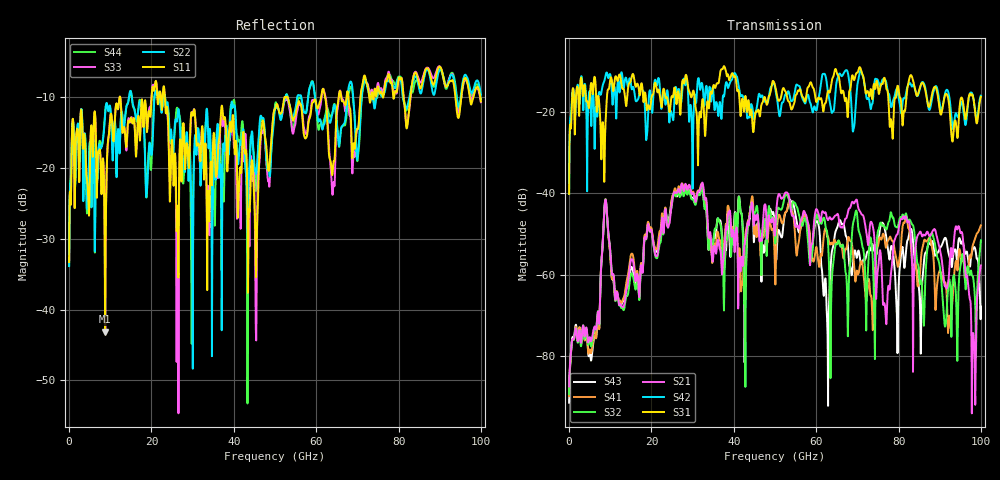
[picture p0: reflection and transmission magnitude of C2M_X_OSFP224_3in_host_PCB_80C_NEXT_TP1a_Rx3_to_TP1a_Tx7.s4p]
# GHz S RI R 45
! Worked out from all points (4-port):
!   4000 points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, 25 MHz to 100 GHz, reference 45 ohm
!   strongest paths, dB at 25 MHz, 25.02 GHz, 50.02 GHz, 75.03 GHz, 100 GHz:
!     S31: -40.1, -16.1, -13.5, -14.1, -16.2
!     S42: -40.1, -20.8, -13.9, -12.3, -15.9
!     S21: -87.5, -42.1, -50.0, -58.6, -57.7
!     S32: -89.3, -42.5, -51.9, -49.2, -51.5
!     S41: -89.9, -40.9, -59.8, -52.9, -47.9
!     S43: -91.5, -41.3, -49.7, -51.8, -67.8
!   lowest |S11| = -43.1 dB at 8.75 GHz (marker M1), VSWR 1.01, Z = 45.6 - j0.16 ohm
!   |S11| at or under -10 dB: start of sweep to 12.29 GHz; 23.27 GHz to 52.35 GHz (29.08 GHz wide, 76.9 % of centre); 53.07 GHz to 61.21 GHz (8.14 GHz wide, 14.2 % of centre) (the widest 3 of 18)
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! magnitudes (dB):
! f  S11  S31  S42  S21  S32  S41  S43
! 25 MHz  -33.3  -40.1  -40.1  -87.5  -89.3  -89.9  -91.5
! 8.75 GHz  -43.1  -26.0  -11.6  -42.0  -41.9  -41.9  -41.8
! 12.97 GHz  -15.0  -14.3  -11.4  -67.9  -68.2  -66.3  -66.7
! 32.17 GHz  -15.2  -18.9  -12.8  -37.7  -39.0  -37.7  -38.8
! 62.83 GHz  -14.9  -15.0  -14.8  -46.5  -51.2  -50.5  -79.0
! 92.38 GHz  -7.8  -19.0  -16.6  -58.0  -61.2  -70.1  -55.6
! 100 GHz  -10.6  -16.2  -15.9  -57.7  -51.5  -47.9  -67.8
